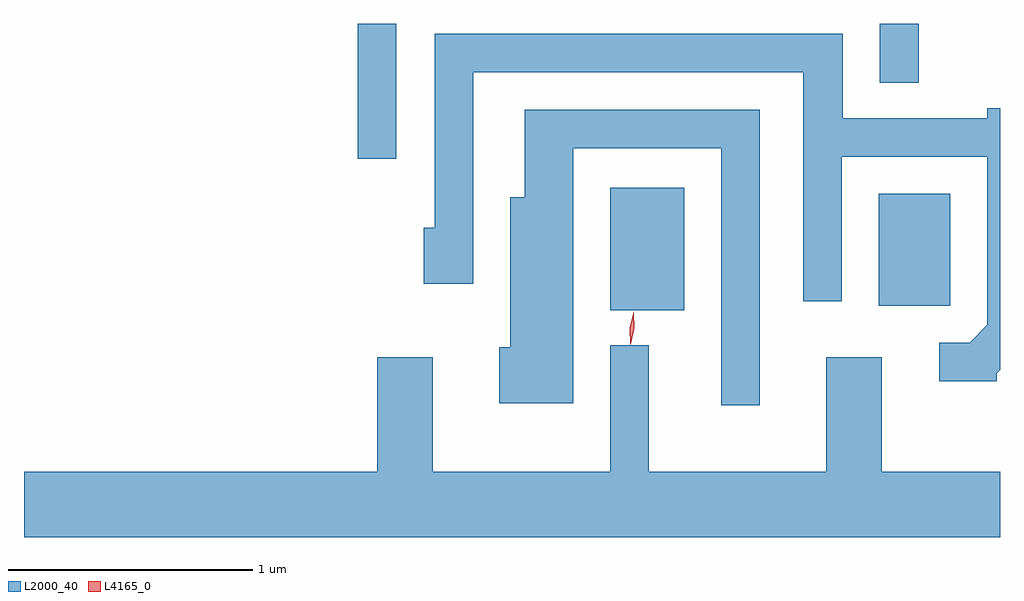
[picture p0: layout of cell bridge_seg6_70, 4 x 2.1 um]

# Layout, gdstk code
import gdstk
lib = gdstk.Library(unit=1e-6, precision=1e-09)
def R(c, l, rs):  # rectangles x0, y0, x1, y1
    for r in rs: c.add(gdstk.rectangle(r[:2], r[2:], *l))
def P(c, l, *ps):  # polygons
    for p in ps: c.add(gdstk.Polygon(p, *l))
L2000_40 = (2000, 40)
L4165_0 = (4165, 0)

bridge_seg6_70 = lib.new_cell('bridge_seg6_70')
R(bridge_seg6_70, L2000_40, [(1245.356,1610.906,1245.659,1611.409), (1246.456,1610.926,1246.749,1611.384), (1244.321,1611.528,1244.479,1612.081), (1246.461,1611.838,1246.619,1612.081)])
P(bridge_seg6_70, L2000_40, [(1246.939,1610.649),(1246.953,1610.663),(1246.953,1611.734),(1246.901,1611.734),(1246.901,1611.694),(1246.309,1611.694),(1246.309,1612.039),(1244.636,1612.039),(1244.636,1611.244),(1244.591,1611.244),(1244.591,1611.016),(1244.794,1611.016),(1244.794,1611.881),(1246.146,1611.881),(1246.146,1610.943),(1246.304,1610.943),(1246.304,1611.536),(1246.901,1611.536),(1246.901,1610.847),(1246.829,1610.774),(1246.703,1610.774),(1246.703,1610.616),(1246.939,1610.616)],
  [(1245.969,1611.729),(1245.006,1611.729),(1245.006,1611.369),(1244.946,1611.369),(1244.946,1610.754),(1244.901,1610.754),(1244.901,1610.526),(1245.204,1610.526),(1245.204,1611.571),(1245.811,1611.571),(1245.811,1610.518),(1245.969,1610.518)],
  [(1246.241,1610.714),(1246.241,1610.244),(1245.514,1610.244),(1245.514,1610.763),(1245.356,1610.763),(1245.356,1610.244),(1244.629,1610.244),(1244.629,1610.714),(1244.401,1610.714),(1244.401,1610.244),(1242.953,1610.244),(1242.953,1609.976),(1246.953,1609.976),(1246.953,1610.244),(1246.469,1610.244),(1246.469,1610.714)])
P(bridge_seg6_70, L4165_0, [(1245.438,1610.768),(1245.438,1610.768),(1245.435,1610.835),(1245.451,1610.899),(1245.451,1610.9),(1245.452,1610.899),(1245.455,1610.833),(1245.439,1610.768)])

lib.write_gds('bridge_seg6_70.gds')
